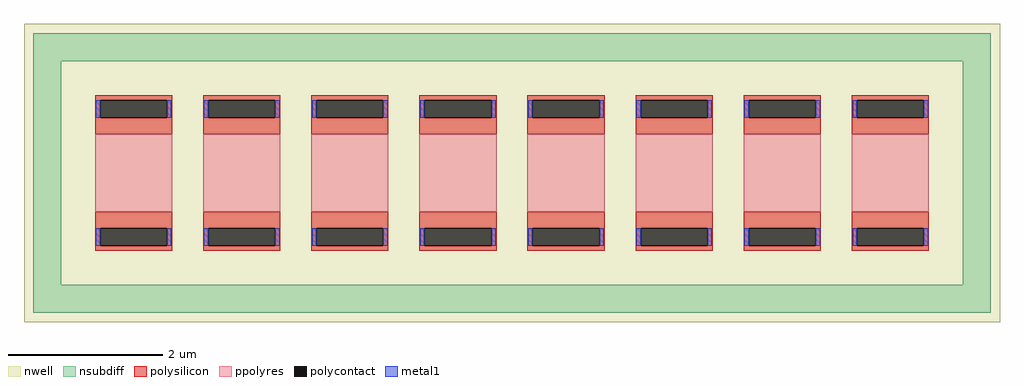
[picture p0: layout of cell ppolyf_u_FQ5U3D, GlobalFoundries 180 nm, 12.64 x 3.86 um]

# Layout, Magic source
magic
tech gf180mcuC
magscale 1 10
<< nwell >>
rect -1264 -386 1264 386
<< nsubdiff >>
rect -1240 290 1240 362
rect -1240 -290 -1168 290
rect 1168 -290 1240 290
rect -1240 -362 1240 -290
<< polysilicon >>
rect -1080 189 -880 202
rect -1080 143 -1067 189
rect -893 143 -880 189
rect -1080 100 -880 143
rect -1080 -143 -880 -100
rect -1080 -189 -1067 -143
rect -893 -189 -880 -143
rect -1080 -202 -880 -189
rect -800 189 -600 202
rect -800 143 -787 189
rect -613 143 -600 189
rect -800 100 -600 143
rect -800 -143 -600 -100
rect -800 -189 -787 -143
rect -613 -189 -600 -143
rect -800 -202 -600 -189
rect -520 189 -320 202
rect -520 143 -507 189
rect -333 143 -320 189
rect -520 100 -320 143
rect -520 -143 -320 -100
rect -520 -189 -507 -143
rect -333 -189 -320 -143
rect -520 -202 -320 -189
rect -240 189 -40 202
rect -240 143 -227 189
rect -53 143 -40 189
rect -240 100 -40 143
rect -240 -143 -40 -100
rect -240 -189 -227 -143
rect -53 -189 -40 -143
rect -240 -202 -40 -189
rect 40 189 240 202
rect 40 143 53 189
rect 227 143 240 189
rect 40 100 240 143
rect 40 -143 240 -100
rect 40 -189 53 -143
rect 227 -189 240 -143
rect 40 -202 240 -189
rect 320 189 520 202
rect 320 143 333 189
rect 507 143 520 189
rect 320 100 520 143
rect 320 -143 520 -100
rect 320 -189 333 -143
rect 507 -189 520 -143
rect 320 -202 520 -189
rect 600 189 800 202
rect 600 143 613 189
rect 787 143 800 189
rect 600 100 800 143
rect 600 -143 800 -100
rect 600 -189 613 -143
rect 787 -189 800 -143
rect 600 -202 800 -189
rect 880 189 1080 202
rect 880 143 893 189
rect 1067 143 1080 189
rect 880 100 1080 143
rect 880 -143 1080 -100
rect 880 -189 893 -143
rect 1067 -189 1080 -143
rect 880 -202 1080 -189
<< polycontact >>
rect -1067 143 -893 189
rect -1067 -189 -893 -143
rect -787 143 -613 189
rect -787 -189 -613 -143
rect -507 143 -333 189
rect -507 -189 -333 -143
rect -227 143 -53 189
rect -227 -189 -53 -143
rect 53 143 227 189
rect 53 -189 227 -143
rect 333 143 507 189
rect 333 -189 507 -143
rect 613 143 787 189
rect 613 -189 787 -143
rect 893 143 1067 189
rect 893 -189 1067 -143
<< ppolyres >>
rect -1080 -100 -880 100
rect -800 -100 -600 100
rect -520 -100 -320 100
rect -240 -100 -40 100
rect 40 -100 240 100
rect 320 -100 520 100
rect 600 -100 800 100
rect 880 -100 1080 100
<< metal1 >>
rect -1078 143 -1067 189
rect -893 143 -882 189
rect -798 143 -787 189
rect -613 143 -602 189
rect -518 143 -507 189
rect -333 143 -322 189
rect -238 143 -227 189
rect -53 143 -42 189
rect 42 143 53 189
rect 227 143 238 189
rect 322 143 333 189
rect 507 143 518 189
rect 602 143 613 189
rect 787 143 798 189
rect 882 143 893 189
rect 1067 143 1078 189
rect -1078 -189 -1067 -143
rect -893 -189 -882 -143
rect -798 -189 -787 -143
rect -613 -189 -602 -143
rect -518 -189 -507 -143
rect -333 -189 -322 -143
rect -238 -189 -227 -143
rect -53 -189 -42 -143
rect 42 -189 53 -143
rect 227 -189 238 -143
rect 322 -189 333 -143
rect 507 -189 518 -143
rect 602 -189 613 -143
rect 787 -189 798 -143
rect 882 -189 893 -143
rect 1067 -189 1078 -143
<< properties >>
string FIXED_BBOX -1204 -326 1204 326
string gencell ppolyf_u
string library gf180mcu
string parameters w 1.0 l 1.0 m 1 nx 8 wmin 0.80 lmin 1.00 rho 315 val 338.709 dummy 0 dw 0.07 term 0.0 sterm 0.0 caplen 0.4 snake 0 glc 0 grc 0 gtc 0 gbc 0 roverlap 0 endcov 100 full_metal 0
<< end >>
